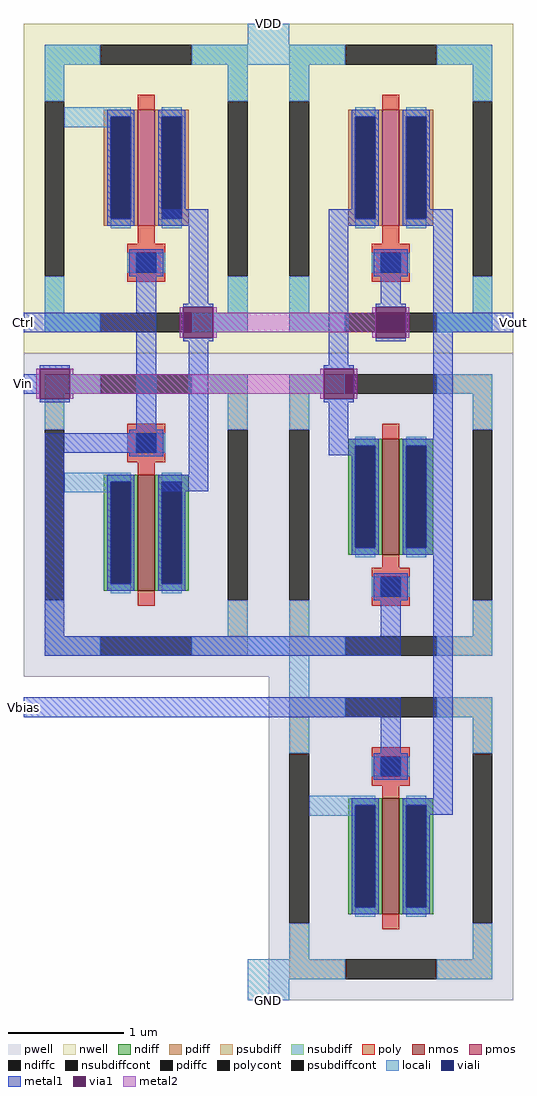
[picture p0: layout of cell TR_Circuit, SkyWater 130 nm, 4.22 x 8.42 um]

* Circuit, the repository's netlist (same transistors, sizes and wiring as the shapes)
** sch_path: /home/ricardo/RATT_repos/Proyectos_xschem/SNN/TR_Circuit.sch
**.subckt TR_Circuit GND VDD Vout Ctrl Vin Vbias
*.iopin GND
*.iopin VDD
*.opin Vout
*.ipin Ctrl
*.ipin Vin
*.ipin Vbias
XM1 Vout net1 Vin VDD sky130_fd_pr__pfet_01v8 L=0.15 W=1 nf=1 ad='int((nf+1)/2) * W/nf * 0.29' as='int((nf+2)/2) * W/nf * 0.29'
+ pd='2*int((nf+1)/2) * (W/nf + 0.29)' ps='2*int((nf+2)/2) * (W/nf + 0.29)' nrd='0.29 / W' nrs='0.29 / W'
+ sa=0 sb=0 sd=0 mult=1 m=1
XM2 Vin Ctrl Vout GND sky130_fd_pr__nfet_01v8 L=0.15 W=1 nf=1 ad='int((nf+1)/2) * W/nf * 0.29' as='int((nf+2)/2) * W/nf * 0.29'
+ pd='2*int((nf+1)/2) * (W/nf + 0.29)' ps='2*int((nf+2)/2) * (W/nf + 0.29)' nrd='0.29 / W' nrs='0.29 / W'
+ sa=0 sb=0 sd=0 mult=1 m=1
XM3 net1 Ctrl VDD VDD sky130_fd_pr__pfet_01v8 L=0.15 W=1 nf=1 ad='int((nf+1)/2) * W/nf * 0.29' as='int((nf+2)/2) * W/nf * 0.29'
+ pd='2*int((nf+1)/2) * (W/nf + 0.29)' ps='2*int((nf+2)/2) * (W/nf + 0.29)' nrd='0.29 / W' nrs='0.29 / W'
+ sa=0 sb=0 sd=0 mult=1 m=1
XM4 net1 Ctrl GND GND sky130_fd_pr__nfet_01v8 L=0.15 W=1 nf=1 ad='int((nf+1)/2) * W/nf * 0.29' as='int((nf+2)/2) * W/nf * 0.29'
+ pd='2*int((nf+1)/2) * (W/nf + 0.29)' ps='2*int((nf+2)/2) * (W/nf + 0.29)' nrd='0.29 / W' nrs='0.29 / W'
+ sa=0 sb=0 sd=0 mult=1 m=1
XM5 Vout Vbias GND GND sky130_fd_pr__nfet_01v8 L=0.15 W=1 nf=1 ad='int((nf+1)/2) * W/nf * 0.29' as='int((nf+2)/2) * W/nf * 0.29'
+ pd='2*int((nf+1)/2) * (W/nf + 0.29)' ps='2*int((nf+2)/2) * (W/nf + 0.29)' nrd='0.29 / W' nrs='0.29 / W'
+ sa=0 sb=0 sd=0 mult=1 m=1
**.ends
.end

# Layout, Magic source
magic
tech sky130A
magscale 1 2
<< locali >>
rect 1387 1949 1459 2019
rect 1071 1841 1151 1875
rect 1071 1211 1151 1245
rect 1387 930 1459 963
rect 1387 929 1493 930
rect 1459 823 1493 929
rect 1493 653 1573 687
rect 1387 335 1459 405
<< metal1 >>
rect 1239 1671 1319 1699
rect 1195 1521 1229 1624
rect 1285 1536 1319 1671
rect 1527 1671 1573 1699
rect 1695 1671 1741 1699
rect 1001 1487 1229 1521
rect 1028 1424 1080 1430
rect 1001 1381 1028 1415
rect 1028 1366 1080 1372
rect 1195 1313 1229 1487
rect 1276 1530 1328 1536
rect 1276 1472 1328 1478
rect 1037 1279 1229 1313
rect 1037 963 1071 1279
rect 1285 1241 1319 1472
rect 1527 1430 1561 1671
rect 1617 1536 1651 1624
rect 1608 1530 1660 1536
rect 1608 1472 1660 1478
rect 1707 1521 1741 1671
rect 1707 1487 1845 1521
rect 1518 1424 1570 1430
rect 1518 1366 1570 1372
rect 1527 1303 1561 1366
rect 1707 1303 1741 1487
rect 1527 1275 1573 1303
rect 1239 1213 1319 1241
rect 1695 1103 1741 1303
rect 1617 963 1651 1065
rect 1037 929 1651 963
rect 1001 823 1651 857
rect 1617 721 1651 823
rect 1707 683 1741 1103
rect 1695 655 1741 683
<< via1 >>
rect 1028 1372 1080 1424
rect 1276 1478 1328 1530
rect 1608 1478 1660 1530
rect 1518 1372 1570 1424
<< metal2 >>
rect 1270 1478 1276 1530
rect 1328 1521 1334 1530
rect 1602 1521 1608 1530
rect 1328 1487 1608 1521
rect 1328 1478 1334 1487
rect 1602 1478 1608 1487
rect 1660 1478 1666 1530
rect 1022 1372 1028 1424
rect 1080 1415 1086 1424
rect 1512 1415 1518 1424
rect 1080 1381 1518 1415
rect 1080 1372 1086 1381
rect 1512 1372 1518 1381
rect 1570 1372 1576 1424
use sky130_fd_pr__pfet_01v8_LGS3BL  sky130_fd_pr__pfet_01v8_LGS3BL_0
transform 1 0 1634 0 1 1735
box -211 -284 211 284
use sky130_fd_pr__pfet_01v8_LGS3BL  XM1
transform 1 0 1212 0 1 1735
box -211 -284 211 284
use sky130_fd_pr__nfet_01v8_64Z3AY  XM2
transform 1 0 1212 0 1 1172
box -211 -279 211 279
use sky130_fd_pr__nfet_01v8_64QSBY  XM4
transform 1 0 1634 0 1 1172
box -211 -279 211 279
use sky130_fd_pr__nfet_01v8_64Z3AY  XM5
transform 1 0 1634 0 1 614
box -211 -279 211 279
<< labels >>
flabel locali s 1387 335 1459 335 0 FreeSans 480 0 0 0 GND
port 12 nsew
flabel locali s 1387 2019 1459 2019 0 FreeSans 480 0 0 0 VDD
port 13 nsew
flabel metal1 s 1845 1487 1845 1521 0 FreeSans 480 0 0 0 Vout
port 14 nsew
flabel metal1 s 1001 1487 1001 1521 0 FreeSans 480 0 0 0 Ctrl
port 15 nsew
flabel metal1 s 1001 1381 1001 1415 0 FreeSans 480 0 0 0 Vin
port 16 nsew
flabel metal1 s 1001 823 1001 857 0 FreeSans 480 0 0 0 Vbias
port 17 nsew
<< end >>

# cell sky130_fd_pr__pfet_01v8_LGS3BL: kit device sky130_fd_pr__pfet_01v8, w 1.0 l 0.15 m 1 nf 1 diffcov 100 polycov 100 guard 1 glc 1 grc 1 gtc 1 gbc 1 tbcov 100 rlcov 100 topc 0 botc 1 poverlap 0 doverlap 1 lmin 0.15 wmin 0.42 compatible {sky130_fd_pr__pfet_01v8 sky130_fd_pr__pfet_01v8_lvt sky130_fd_pr__pfet_01v8_hvt sky130_fd_pr__pfet_g5v0d10v5} full_metal 1 viasrc 100 viadrn 100 viagate 100 viagb 0 viagr 0 viagl 0 viagt 0

# cell sky130_fd_pr__nfet_01v8_64Z3AY: kit device sky130_fd_pr__nfet_01v8, w 1.0 l 0.15 m 1 nf 1 diffcov 100 polycov 100 guard 1 glc 1 grc 1 gtc 1 gbc 1 tbcov 100 rlcov 100 topc 1 botc 0 poverlap 0 doverlap 1 lmin 0.15 wmin 0.42 compatible {sky130_fd_pr__nfet_01v8 sky130_fd_pr__nfet_01v8_lvt sky130_fd_bs_flash__special_sonosfet_star sky130_fd_pr__nfet_g5v0d10v5 sky130_fd_pr__nfet_05v0_nvt sky130_fd_pr__nfet_03v3_nvt} full_metal 1 viasrc 100 viadrn 100 viagate 100 viagb 0 viagr 0 viagl 0 viagt 0

# cell sky130_fd_pr__nfet_01v8_64QSBY: kit device sky130_fd_pr__nfet_01v8, w 1.0 l 0.15 m 1 nf 1 diffcov 100 polycov 100 guard 1 glc 1 grc 1 gtc 1 gbc 1 tbcov 100 rlcov 100 topc 0 botc 1 poverlap 0 doverlap 1 lmin 0.15 wmin 0.42 compatible {sky130_fd_pr__nfet_01v8 sky130_fd_pr__nfet_01v8_lvt sky130_fd_bs_flash__special_sonosfet_star sky130_fd_pr__nfet_g5v0d10v5 sky130_fd_pr__nfet_05v0_nvt sky130_fd_pr__nfet_03v3_nvt} full_metal 1 viasrc 100 viadrn 100 viagate 100 viagb 0 viagr 0 viagl 0 viagt 0
